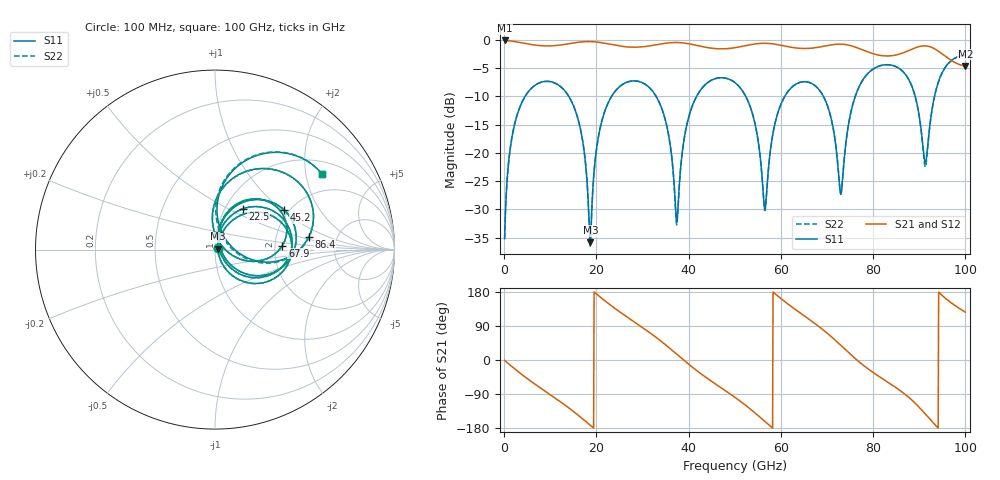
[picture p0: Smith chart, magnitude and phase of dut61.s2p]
! Touchstone file exported from HFSS 2026.1.0
!  File:  C:/ffzhzh/LocalFiles/Ansys_Project_Files/temp_train_TSV_RDL_61_1783447448_7600.aedt
!  Generated:  02:15:04 AM Jul  8, 2026
!  Design:  TSV_RDL
!  Project:  temp_train_TSV_RDL_61_1783447448_7600
! Variables:
!  h_bsmrdl = 2.31um
!  h_ox = 20um
!  h_rdl = 5um
!  h_sub = 72.66um
!  h_tmrdl = 3.12um
!  h_tsv = 72.66um
!  h_via = 3um
!  l_bsmrdl = 413.92um
!  l_sub = 3028.78um
!  l_tmrdl = 310.62um
!  m_sub = 200um
!  pitch = 48.74um
!  r_tsv = 13.17um
!  s_tmrdl = 10um
!  w_bsmrdl = 25.57um
!  w_sub = 500um
!  w_tmrdl = 22.61um
!  x_tsv_center1 = 321.925um
!  x_tsv_center2 = 761.415um
!  x_tsv_center3 = 1094.645um
!  x_tsv_center4 = 1534.135um
!  x_tsv_center5 = 1867.365um
!  x_tsv_center6 = 2306.855um
# GHz S MA R 50.000000
! Terminal data exported
! Port[1] = TM_RDL1_1_T1
! Port[2] = TM_RDL5_1_T1
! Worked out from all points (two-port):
!   1000 points, 100 MHz to 100 GHz, reference 50 ohm
!   highest |S21| = -0.13 dB at 100 MHz (marker M1); lowest = -4.7 dB at 100 GHz (marker M2)
!   |S21| within 3 dB of the highest: start of sweep to 96.01 GHz
!   lowest |S11| = -35.8 dB at 18.7 GHz (marker M3), VSWR 1.03, Z = 51.6 + j0.545 ohm
!   |S11| at or under -10 dB: 14 GHz to 23.31 GHz (9.308 GHz wide, 49.9 % of centre); 32.94 GHz to 41.73 GHz (8.797 GHz wide, 23.6 % of centre); 52.37 GHz to 60.85 GHz (8.48 GHz wide, 15 % of centre) (the widest 3 of 6)
!   |S22| runs from -36.5 to -2.7 dB; largest |S21 - S12| = 1.4e-13
!   S11 on the Smith chart (normalised r, x): 100 MHz: 1.03, +0.02; 22.5 GHz: 1.21, +0.59; 45.2 GHz: 1.88, +1.04; 67.9 GHz: 2.20, +0.11; 86.4 GHz: 3.09, +0.60; 100 GHz: 1.38, +2.48
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0.1  0.0174 31.1  0.9852 -1.1  0.9852 -1.1  0.0174 31.1
! Gamma 0 0 0 0
! Port Impedance 50 0 50 0
1.9  0.1525 62.9  0.9682 -19.5  0.9682 -19.5  0.1525 62.9
5.6  0.3609 32.5  0.9111 -54.3  0.9111 -54.3  0.3609 32.5
16.8  0.1438 -59.1  0.9566 -153.2  0.9566 -153.2  0.1438 -59.6
18.7  0.01618 19.1  0.9627 -172.4  0.9627 -172.4  0.01494 19.7
22.5  0.2738 55.8  0.9197 150.0  0.9197 150.0  0.2736 56.0
33.4  0.292 -32.3  0.9087 55.5  0.9087 55.5  0.2918 -32.5
37.4  0.02438 10.0  0.9447 15.5  0.9447 15.5  0.02299 10.1
40.1  0.2129 70.9  0.9196 -12.0  0.9196 -12.0  0.2129 71.2
45.2  0.4438 29.9  0.8395 -58.2  0.8395 -58.2  0.4439 30.0
50.1  0.4156 -8.1  0.851 -99.1  0.851 -99.1  0.4156 -8.1
56.5  0.03149 12.2  0.9302 -161.8  0.9302 -161.8  0.03082 12.0
60  0.2684 66.1  0.8932 162.2  0.8932 162.2  0.2683 66.3
66.7  0.4098 12.9  0.8425 102.2  0.8425 102.2  0.4098 13.0
67.9  0.376 3.4  0.855 91.4  0.855 91.4  0.376 3.5
73  0.04283 38.1  0.9139 38.6  0.9139 38.6  0.04382 38.0
76.5  0.3477 82.7  0.8501 -0.2  0.8501 -0.2  0.3478 82.4
83.4  0.6005 29.7  0.7188 -60.4  0.7188 -60.4  0.6002 29.3
86.4  0.5263 7.6  0.7629 -85.6  0.7629 -85.6  0.5258 7.1
91.3  0.08178 34.5  0.8827 -142.5  0.8827 -142.5  0.07473 34.4
94.5  0.4637 76.2  0.7737 175.6  0.7737 175.6  0.4628 77.0
100  0.7296 35.1  0.5854 126.1  0.5854 126.1  0.7294 35.4
